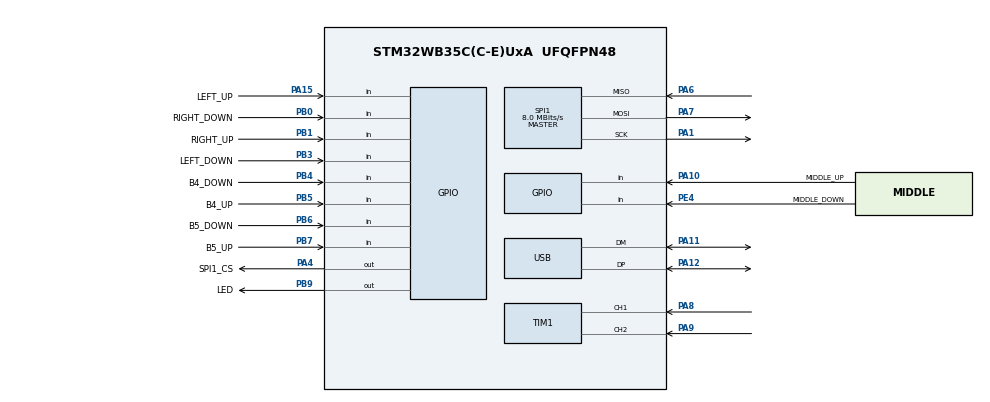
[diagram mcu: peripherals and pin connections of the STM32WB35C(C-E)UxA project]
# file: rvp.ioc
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Mcu.Family=STM32WB
Mcu.Name=STM32WB35C(C-E)UxA
Mcu.Package=UFQFPN48
NVIC.PriorityGroup=NVIC_PRIORITYGROUP_4
NVIC.USB_LP_IRQn=true\:0\:0\:false\:false\:true\:false\:true
PA1.Mode=Full_Duplex_Master
PA1.Signal=SPI1_SCK
PA10.GPIO_Label=MIDDLE_UP
PA10.Signal=GPIO_Input
PA11.Mode=Device
PA11.Signal=USB_DM
PA12.Mode=Device
PA12.Signal=USB_DP
PA13.Mode=Serial_Wire
PA13.Signal=SYS_JTMS-SWDIO
PA14.Mode=Serial_Wire
PA14.Signal=SYS_JTCK-SWCLK
PA15.GPIO_Label=LEFT_UP
PA15.Signal=GPIO_Input
PA4.GPIO_Label=SPI1_CS
PA4.Signal=GPIO_Output
PA6.Mode=Full_Duplex_Master
PA6.Signal=SPI1_MISO
PA7.Mode=Full_Duplex_Master
PA7.Signal=SPI1_MOSI
PA8.Signal=S_TIM1_CH1
PA9.Signal=S_TIM1_CH2
PB0.GPIO_Label=RIGHT_DOWN
PB0.Signal=GPIO_Input
PB1.GPIO_Label=RIGHT_UP
PB1.Signal=GPIO_Input
PB3.GPIO_Label=LEFT_DOWN
PB3.Signal=GPIO_Input
PB4.GPIO_Label=B4_DOWN
PB4.Signal=GPIO_Input
PB5.GPIO_Label=B4_UP
PB5.Signal=GPIO_Input
PB6.GPIO_Label=B5_DOWN
PB6.Signal=GPIO_Input
PB7.GPIO_Label=B5_UP
PB7.Signal=GPIO_Input
PB9.GPIO_Label=LED
PB9.Signal=GPIO_Output
PE4.GPIO_Label=MIDDLE_DOWN
PE4.Signal=GPIO_Input
ProjectManager.HeapSize=0x200
ProjectManager.StackSize=0x400
ProjectManager.TargetToolchain=STM32CubeIDE
RCC.ADCFreq_Value=48000000
RCC.AHB2CLKDivider=RCC_SYSCLK_DIV2
RCC.AHBFreq_Value=64000000
RCC.APB1Freq_Value=64000000
RCC.APB1TimFreq_Value=64000000
RCC.APB2Freq_Value=64000000
RCC.APB2TimFreq_Value=64000000
RCC.APB3Freq_Value=16000000
RCC.Cortex2_Div=SYSTICK_CLKSOURCE_HCLK_DIV8
RCC.CortexFreq_Value=64000000
RCC.HCLKFreq_Value=64000000
RCC.HSE_VALUE=16000000
RCC.HSI48_VALUE=48000000
RCC.HSI_VALUE=16000000
RCC.LSE_VALUE=32768
RCC.PLLN=32
RCC.PLLSAI1N=24
RCC.SYSCLKFreq_VALUE=64000000
RCC.SYSCLKSource=RCC_SYSCLKSOURCE_PLLCLK
RCC.USBFreq_Value=48000000
RCC.VCOOutputFreq_Value=128000000
SH.S_TIM1_CH1.0=TIM1_CH1,Encoder_Interface
SH.S_TIM1_CH2.0=TIM1_CH2,Encoder_Interface
SPI1.BaudRatePrescaler=SPI_BAUDRATEPRESCALER_8
SPI1.CLKPhase=SPI_PHASE_2EDGE
SPI1.CLKPolarity=SPI_POLARITY_HIGH
SPI1.CalculateBaudRate=8.0 MBits/s
SPI1.DataSize=SPI_DATASIZE_8BIT
SPI1.Direction=SPI_DIRECTION_2LINES
SPI1.Mode=SPI_MODE_MASTER
SPI1.VirtualType=VM_MASTER
USB_DEVICE.CLASS_NAME_FS=HID
USB_DEVICE.VirtualMode=Hid
USB_DEVICE.VirtualModeFS=Hid_FS
VP_USB_DEVICE_VS_USB_DEVICE_HID_FS.Mode=HID_FS
board=custom

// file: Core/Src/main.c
/* USER CODE BEGIN Header */
/**
 ******************************************************************************
 * @file           : main.c
 * @brief          : Main program body
 ******************************************************************************
 * @attention
 *
 * Copyright (c) 2022 STMicroelectronics.
 * All rights reserved.
 *
 * This software is licensed under terms that can be found in the LICENSE file
 * in the root directory of this software component.
 * If no LICENSE file comes with this software, it is provided AS-IS.
 *
 ******************************************************************************
 */
/* USER CODE END Header */
#include "main.h"
#include "spi.h"
#include "tim.h"
#include "usb_device.h"
#include "gpio.h"

/* USER CODE BEGIN Includes */
#include "led.h"
#include "imu.h"
#include "buttons.h"
#include "wheel.h"
#include "move.h"
#include "math.h"
#include "usbd_hid.h"
/* USER CODE END Includes */

void SystemClock_Config(void);
void PeriphCommonClock_Config(void);

/* USER CODE BEGIN 0 */

typedef struct Mouse_Report {
	uint8_t buttons;
	int8_t x;
	int8_t y;
	int8_t wheel;
} Mouse_Report;

Mouse_Report report;

/* USER CODE END 0 */

int main(void) {

	/* MCU Configuration--------------------------------------------------------*/

	/* Reset of all peripherals, Initializes the Flash interface and the Systick. */
	HAL_Init();

	/* Configure the system clock */
	SystemClock_Config();

	/* Configure the peripherals common clocks */
	PeriphCommonClock_Config();

	/* Initialize all configured peripherals */
	MX_GPIO_Init();
	MX_USB_Device_Init();
	MX_SPI1_Init();
	MX_TIM1_Init();
	/* USER CODE BEGIN 2 */
	// start encoder timer
	HAL_TIM_Encoder_Start(&htim1, TIM_CHANNEL_1 | TIM_CHANNEL_2);
	/* USER CODE END 2 */

	/* Infinite loop */
	/* USER CODE BEGIN WHILE */
	imu_setup();
	int wheel_t = 0;
	while (1) {
		// buttons
		update_buttons();
		report.buttons = (left_down << 0) | (right_down << 1)
				| (middle_down << 2) | (b5_down << 3) | (b4_down << 4);

		// wheel
		report.wheel = get_wheel_change(TIM1->CNT);

		// mouse x, y
		get_mouse_xy(&report.x, &report.y);

		USBD_HID_SendReport(&hUsbDeviceFS, &report, 4);
		HAL_Delay(1);
		/* USER CODE END WHILE */

	}
}

void SystemClock_Config(void) {
	RCC_OscInitTypeDef RCC_OscInitStruct = { 0 };
	RCC_ClkInitTypeDef RCC_ClkInitStruct = { 0 };

	/** Configure the main internal regulator output voltage
	 */
	__HAL_PWR_VOLTAGESCALING_CONFIG(PWR_REGULATOR_VOLTAGE_SCALE1);
	/** Initializes the RCC Oscillators according to the specified parameters
	 * in the RCC_OscInitTypeDef structure.
	 */
	RCC_OscInitStruct.OscillatorType = RCC_OSCILLATORTYPE_HSI
			| RCC_OSCILLATORTYPE_LSE | RCC_OSCILLATORTYPE_MSI;
	RCC_OscInitStruct.LSEState = RCC_LSE_OFF;
	RCC_OscInitStruct.HSIState = RCC_HSI_ON;
	RCC_OscInitStruct.MSIState = RCC_MSI_ON;
	RCC_OscInitStruct.HSICalibrationValue = RCC_HSICALIBRATION_DEFAULT;
	RCC_OscInitStruct.MSICalibrationValue = RCC_MSICALIBRATION_DEFAULT;
	RCC_OscInitStruct.MSIClockRange = RCC_MSIRANGE_6;
	RCC_OscInitStruct.PLL.PLLState = RCC_PLL_ON;
	RCC_OscInitStruct.PLL.PLLSource = RCC_PLLSOURCE_MSI;
	RCC_OscInitStruct.PLL.PLLM = RCC_PLLM_DIV1;
	RCC_OscInitStruct.PLL.PLLN = 32;
	RCC_OscInitStruct.PLL.PLLP = RCC_PLLP_DIV2;
	RCC_OscInitStruct.PLL.PLLR = RCC_PLLR_DIV2;
	RCC_OscInitStruct.PLL.PLLQ = RCC_PLLQ_DIV2;
	if (HAL_RCC_OscConfig(&RCC_OscInitStruct) != HAL_OK) {
		Error_Handler();
	}
	/** Configure the SYSCLKSource, HCLK, PCLK1 and PCLK2 clocks dividers
	 */
	RCC_ClkInitStruct.ClockType = RCC_CLOCKTYPE_HCLK4 | RCC_CLOCKTYPE_HCLK2
			| RCC_CLOCKTYPE_HCLK | RCC_CLOCKTYPE_SYSCLK | RCC_CLOCKTYPE_PCLK1
			| RCC_CLOCKTYPE_PCLK2;
	RCC_ClkInitStruct.SYSCLKSource = RCC_SYSCLKSOURCE_PLLCLK;
	RCC_ClkInitStruct.AHBCLKDivider = RCC_SYSCLK_DIV1;
	RCC_ClkInitStruct.APB1CLKDivider = RCC_HCLK_DIV1;
	RCC_ClkInitStruct.APB2CLKDivider = RCC_HCLK_DIV1;
	RCC_ClkInitStruct.AHBCLK2Divider = RCC_SYSCLK_DIV2;
	RCC_ClkInitStruct.AHBCLK4Divider = RCC_SYSCLK_DIV1;

	if (HAL_RCC_ClockConfig(&RCC_ClkInitStruct, FLASH_LATENCY_3) != HAL_OK) {
		Error_Handler();
	}
	/** Enable MSI Auto calibration
	 */
	HAL_RCCEx_EnableMSIPLLMode();
}

void PeriphCommonClock_Config(void) {
	RCC_PeriphCLKInitTypeDef PeriphClkInitStruct = { 0 };

	/** Initializes the peripherals clock
	 */
	PeriphClkInitStruct.PeriphClockSelection = RCC_PERIPHCLK_SMPS;
	PeriphClkInitStruct.SmpsClockSelection = RCC_SMPSCLKSOURCE_HSI;
	PeriphClkInitStruct.SmpsDivSelection = RCC_SMPSCLKDIV_RANGE1;

	if (HAL_RCCEx_PeriphCLKConfig(&PeriphClkInitStruct) != HAL_OK) {
		Error_Handler();
	}
}

void Error_Handler(void) {
	__disable_irq();
	while (1) {
	}
}
